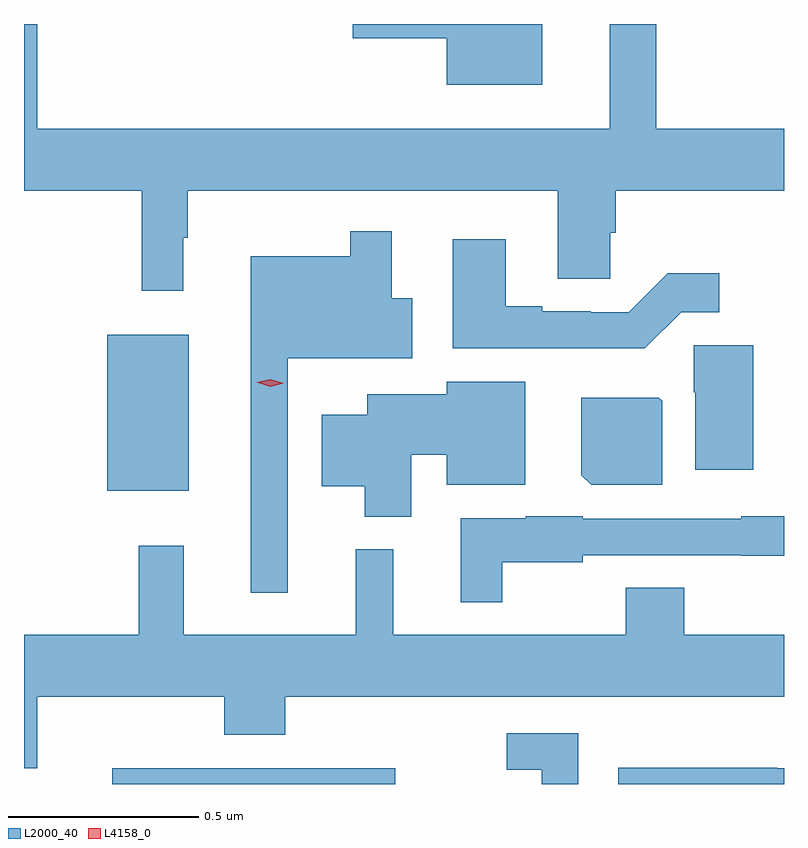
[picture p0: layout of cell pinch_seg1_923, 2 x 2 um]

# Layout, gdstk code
import gdstk
lib = gdstk.Library(unit=1e-6, precision=1e-09)
def R(c, l, rs):  # rectangles x0, y0, x1, y1
    for r in rs: c.add(gdstk.rectangle(r[:2], r[2:], *l))
def P(c, l, *ps):  # polygons
    for p in ps: c.add(gdstk.Polygon(p, *l))
L2000_40 = (2000, 40)
L4158_0 = (4158, 0)

pinch_seg1_923 = lib.new_cell('pinch_seg1_923')
R(pinch_seg1_923, L2000_40, [(548.985,520.867,549.73,520.908), (548.972,521.639,549.187,522.049)])
P(pinch_seg1_923, L2000_40, [(549.172,522.305),(549.184,522.305),(549.184,522.428),(550.157,522.428),(550.157,522.196),(550.296,522.196),(550.296,522.318),(550.31,522.318),(550.31,522.428),(550.753,522.428),(550.753,522.592),(550.417,522.592),(550.417,522.867),(550.295,522.867),(550.295,522.592),(548.788,522.592),(548.788,522.867),(548.753,522.867),(548.753,522.428),(549.063,522.428),(549.063,522.165),(549.172,522.165)],
  [(550.117,522.867),(549.618,522.867),(549.618,522.83),(549.866,522.83),(549.866,522.707),(550.117,522.707)],
  [(549.447,521.987),(549.775,521.987),(549.775,522.145),(549.721,522.145),(549.721,522.322),(549.612,522.322),(549.612,522.256),(549.35,522.256),(549.35,521.37),(549.447,521.37)],
  [(550.482,522.108),(550.582,522.108),(550.582,522.211),(550.447,522.211),(550.344,522.108),(550.244,522.108),(550.244,522.111),(550.117,522.111),(550.117,522.124),(550.021,522.124),(550.021,522.301),(549.881,522.301),(549.881,522.014),(550.387,522.014)],
  [(550.672,522.021),(550.516,522.021),(550.516,521.898),(550.52,521.898),(550.52,521.694),(550.672,521.694)],
  [(549.772,521.734),(549.866,521.734),(549.866,521.654),(550.072,521.654),(550.072,521.926),(549.866,521.926),(549.866,521.893),(549.656,521.893),(549.656,521.839),(549.536,521.839),(549.536,521.651),(549.65,521.651),(549.65,521.57),(549.772,521.57)],
  [(550.432,521.876),(550.424,521.884),(550.22,521.884),(550.22,521.68),(550.246,521.654),(550.432,521.654)],
  [(550.012,521.45),(550.224,521.45),(550.224,521.469),(550.641,521.469),(550.641,521.468),(550.753,521.468),(550.753,521.572),(550.641,521.572),(550.641,521.565),(550.224,521.565),(550.224,521.572),(550.074,521.572),(550.074,521.566),(549.902,521.566),(549.902,521.345),(550.012,521.345)],
  [(548.788,521.096),(549.28,521.096),(549.28,520.997),(549.44,520.997),(549.44,521.096),(550.753,521.096),(550.753,521.26),(550.491,521.26),(550.491,521.384),(550.336,521.384),(550.336,521.26),(549.725,521.26),(549.725,521.485),(549.626,521.485),(549.626,521.26),(549.173,521.26),(549.173,521.494),(549.055,521.494),(549.055,521.26),(548.753,521.26),(548.753,520.908),(548.788,520.908)],
  [(550.212,521.001),(550.023,521.001),(550.023,520.905),(550.116,520.905),(550.116,520.867),(550.212,520.867)],
  [(550.753,520.908),(550.735,520.908),(550.735,520.91),(550.317,520.91),(550.317,520.867),(550.753,520.867)])
P(pinch_seg1_923, L4158_0, [(549.401,521.913),(549.366,521.924),(549.365,521.924),(549.366,521.924),(549.401,521.932),(549.436,521.921),(549.437,521.921),(549.436,521.921)])

lib.write_gds('pinch_seg1_923.gds')
